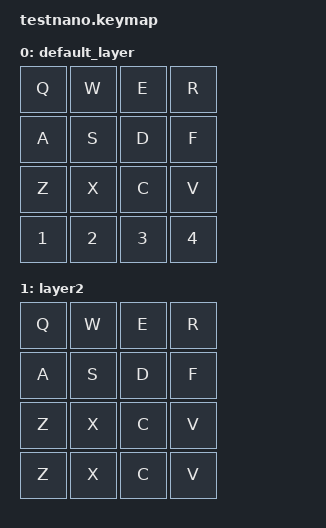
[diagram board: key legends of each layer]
#include <behaviors.dtsi>
#include <dt-bindings/zmk/keys.h>
#include <dt-bindings/zmk/bt.h>

/ {
    keymap {
        compatible = "zmk,keymap";

        default_layer {
            // |  Q  |  W  |  E  |  R  |
            // |  A  |  S  |  D  |  F  |
            // |  Z  |  X  |  C  |  V  |
            // |  Z  |  X  |  C  |  V  |

        	bindings = <
            &kp Q &kp W &kp E &kp R
            &kp A &kp S &kp D &kp F
            &kp Z &kp X &kp C &kp V
            &kp N1 &kp N2 &kp N3 &kp N4
            >;
        };

        layer2 {
            // |  Q  |  W  |  E  |  R  |
            // |  A  |  S  |  D  |  F  |
            // |  Z  |  X  |  C  |  V  |
            // |  Z  |  X  |  C  |  V  |

        	bindings = <
            &kp Q &kp W &kp E &kp R
            &kp A &kp S &kp D &kp F
            &kp Z &kp X &kp C &kp V
            &kp Z &kp X &kp C &kp V
            >;
        };

    };
};
